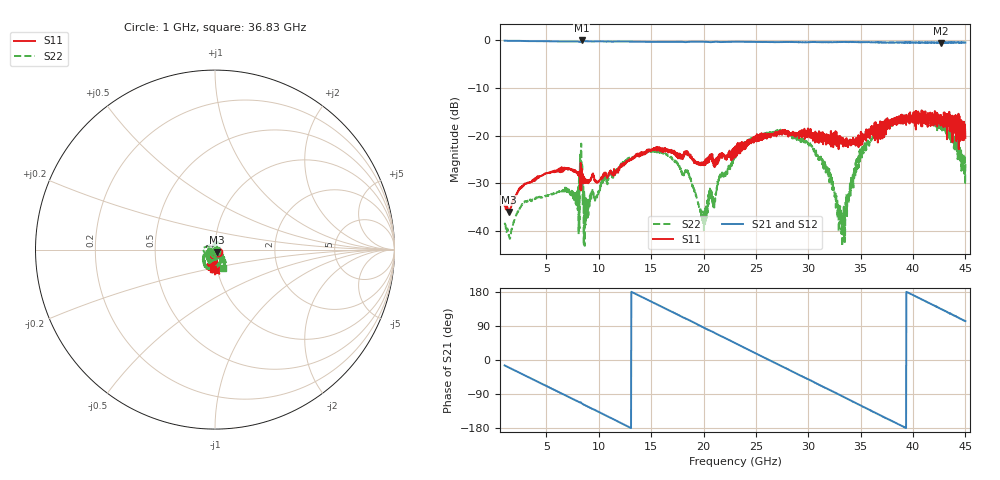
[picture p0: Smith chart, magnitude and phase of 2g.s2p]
!Keysight Technologies,N5247B,MY61255062,A.19.80.06
!Date: Tuesday, May 26, 2026 11:28:47
!Correction: S11(C  2-Port  )
!S21(C  2-Port  )
!S12(C  2-Port  )
!S22(C  2-Port  )
!S2P File: Measurements: S11, S21, S12, S22:
# Hz S  dB  R 50
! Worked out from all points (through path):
!   1601 points, 1 GHz to 45 GHz, reference 50 ohm
!   highest |S21| = -0.10 dB at 8.342 GHz (marker M1); lowest = -0.6 dB at 42.63 GHz (marker M2)
!   group delay of S21, straight-line fit = 38.1 ps
!   lowest |S11| = -36.0 dB at 1.413 GHz (marker M3), VSWR 1.03, Z = 50.9 - j1.32 ohm
!   |S11| at or under -10 dB: start of sweep to end of sweep
!   |S22| runs from -43.1 to -15.6 dB; largest |S21 - S12| = 0.021
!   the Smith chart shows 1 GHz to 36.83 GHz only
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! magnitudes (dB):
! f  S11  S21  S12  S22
! 1 GHz  -34.7  -0.1  -0.1  -38.6
! 1.413 GHz  -36.0  -0.2  -0.2  -40.8
! 2.842 GHz  -30.2  -0.2  -0.2  -34.0
! 6.747 GHz  -26.7  -0.3  -0.3  -31.4
! 7.93 GHz  -28.0  -0.3  -0.3  -31.6
! 8.342 GHz  -26.8  -0.1  -0.1  -24.7
! 8.783 GHz  -29.8  -0.3  -0.3  -33.1
! 12.33 GHz  -25.7  -0.3  -0.3  -25.9
! 15.69 GHz  -22.7  -0.4  -0.4  -23.5
! 18.49 GHz  -23.7  -0.4  -0.4  -27.8
! 20 GHz  -26.2  -0.4  -0.4  -36.4
! 20.58 GHz  -24.2  -0.4  -0.4  -33.2
! 21.05 GHz  -26.6  -0.4  -0.4  -33.0
! 23 GHz  -22.3  -0.4  -0.4  -24.1
! 27.12 GHz  -19.7  -0.4  -0.4  -19.2
! 30.34 GHz  -19.5  -0.4  -0.4  -22.4
! 32.02 GHz  -21.6  -0.5  -0.5  -29.8
! 33.28 GHz  -21.3  -0.4  -0.4  -36.8
! 35.1 GHz  -20.5  -0.5  -0.4  -24.6
! 37.69 GHz  -18.2  -0.5  -0.5  -17.8
! 42.63 GHz  -17.9  -0.6  -0.5  -17.3
! 45 GHz  -20.5  -0.5  -0.6  -25.8
